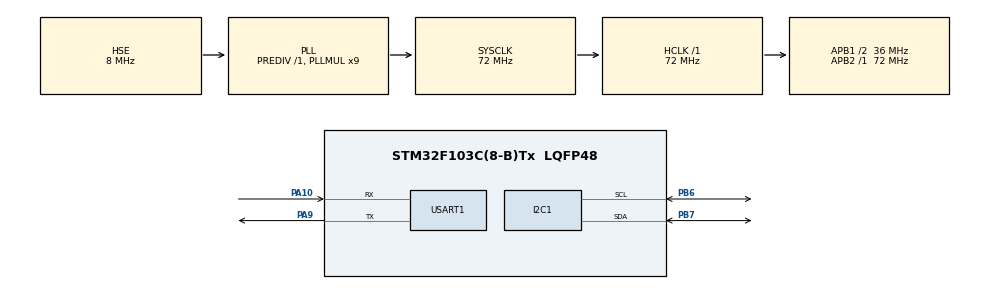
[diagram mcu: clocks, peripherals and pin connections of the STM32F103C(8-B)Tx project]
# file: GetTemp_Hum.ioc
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Mcu.Family=STM32F1
Mcu.Name=STM32F103C(8-B)Tx
Mcu.Package=LQFP48
NVIC.PriorityGroup=NVIC_PRIORITYGROUP_4
PA10.Mode=Asynchronous
PA10.Signal=USART1_RX
PA13.Mode=Serial_Wire
PA13.Signal=SYS_JTMS-SWDIO
PA14.Mode=Serial_Wire
PA14.Signal=SYS_JTCK-SWCLK
PA9.Mode=Asynchronous
PA9.Signal=USART1_TX
PB6.Mode=I2C
PB6.Signal=I2C1_SCL
PB7.Mode=I2C
PB7.Signal=I2C1_SDA
PD0-OSC_IN.Mode=HSE-External-Oscillator
PD0-OSC_IN.Signal=RCC_OSC_IN
PD1-OSC_OUT.Mode=HSE-External-Oscillator
PD1-OSC_OUT.Signal=RCC_OSC_OUT
ProjectManager.HeapSize=0x200
ProjectManager.StackSize=0x400
ProjectManager.TargetToolchain=MDK-ARM V5.32
RCC.AHBFreq_Value=72000000
RCC.APB1CLKDivider=RCC_HCLK_DIV2
RCC.APB1Freq_Value=36000000
RCC.APB1TimFreq_Value=72000000
RCC.APB2Freq_Value=72000000
RCC.APB2TimFreq_Value=72000000
RCC.HCLKFreq_Value=72000000
RCC.PLLMUL=RCC_PLL_MUL9
RCC.PLLSourceVirtual=RCC_PLLSOURCE_HSE
RCC.SYSCLKFreq_VALUE=72000000
RCC.SYSCLKSource=RCC_SYSCLKSOURCE_PLLCLK
RCC.USBFreq_Value=72000000
USART1.VirtualMode=VM_ASYNC
board=custom

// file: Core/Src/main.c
/* USER CODE BEGIN Header */
/**
  ******************************************************************************
  * @file           : main.c
  * @brief          : Main program body
  ******************************************************************************
  * @attention
  *
  * Copyright (c) 2026 STMicroelectronics.
  * All rights reserved.
  *
  * This software is licensed under terms that can be found in the LICENSE file
  * in the root directory of this software component.
  * If no LICENSE file comes with this software, it is provided AS-IS.
  *
  ******************************************************************************
  */
/* USER CODE END Header */
#include "main.h"
#include "i2c.h"
#include "usart.h"
#include "gpio.h"

/* USER CODE BEGIN Includes */
#include <stdio.h>
#include <string.h>
#include "dht12.h"
/* USER CODE END Includes */

void SystemClock_Config(void);

int main(void)
{

  /* MCU Configuration--------------------------------------------------------*/

  /* Reset of all peripherals, Initializes the Flash interface and the Systick. */
  HAL_Init();

  /* Configure the system clock */
  SystemClock_Config();

  /* Initialize all configured peripherals */
  MX_GPIO_Init();
  MX_I2C1_Init();
  MX_USART1_UART_Init();
  /* USER CODE BEGIN 2 */
  HAL_Delay(1000);
  DHTC12_Status init_status = DHTC12_Init();
  char msg[160];
  if (init_status == DHTC12_OK)
  {
    sprintf(msg, "DHTC12 Init OK, cal=%s\r\n", DHTC12_UsingCalibration() ? "YES" : "NO");
  }
  else if (init_status == DHTC12_ERR_CALIB)
  {
    sprintf(msg, "DHTC12 Init OK, cal=NO, using linear humidity fallback\r\n");
  }
  else
  {
    sprintf(msg, "DHTC12 Init Failed: %s, hal_error=0x%08X\r\n",
            DHTC12_StatusString(init_status), (unsigned int)DHTC12_LastHalError());
  }
  HAL_UART_Transmit(&huart1, (uint8_t*)msg, strlen(msg), 100);
  /* USER CODE END 2 */

  /* Infinite loop */
  /* USER CODE BEGIN WHILE */
  DHT12_Data sensor;
  while (1)
  {
    DHTC12_Status ret = DHT12_Read(&sensor);

    if (ret == 0)
      sprintf(msg, "Temp: %.1fC, Hum: %.1f%%, cal=%s\r\n",
              sensor.temperature, sensor.humidity, sensor.used_calibration ? "YES" : "NO");
    else if (ret == DHTC12_ERR_CRC)
      sprintf(msg, "DHTC12 %s, hal_error=0x%08X, raw=%02X %02X %02X %02X %02X %02X\r\n",
              DHTC12_StatusString(ret), (unsigned int)sensor.hal_error,
              sensor.raw[0], sensor.raw[1], sensor.raw[2],
              sensor.raw[3], sensor.raw[4], sensor.raw[5]);
    else
      sprintf(msg, "DHTC12 %s, hal_error=0x%08X\r\n",
              DHTC12_StatusString(ret), (unsigned int)sensor.hal_error);

    HAL_UART_Transmit(&huart1, (uint8_t*)msg, strlen(msg), 100);
    HAL_Delay(2000);
    /* USER CODE END WHILE */

  }
}

void SystemClock_Config(void)
{
  RCC_OscInitTypeDef RCC_OscInitStruct = {0};
  RCC_ClkInitTypeDef RCC_ClkInitStruct = {0};

  /** Initializes the RCC Oscillators according to the specified parameters
  * in the RCC_OscInitTypeDef structure.
  */
  RCC_OscInitStruct.OscillatorType = RCC_OSCILLATORTYPE_HSE;
  RCC_OscInitStruct.HSEState = RCC_HSE_ON;
  RCC_OscInitStruct.HSEPredivValue = RCC_HSE_PREDIV_DIV1;
  RCC_OscInitStruct.HSIState = RCC_HSI_ON;
  RCC_OscInitStruct.PLL.PLLState = RCC_PLL_ON;
  RCC_OscInitStruct.PLL.PLLSource = RCC_PLLSOURCE_HSE;
  RCC_OscInitStruct.PLL.PLLMUL = RCC_PLL_MUL9;
  if (HAL_RCC_OscConfig(&RCC_OscInitStruct) != HAL_OK)
  {
    Error_Handler();
  }

  /** Initializes the CPU, AHB and APB buses clocks
  */
  RCC_ClkInitStruct.ClockType = RCC_CLOCKTYPE_HCLK|RCC_CLOCKTYPE_SYSCLK
                              |RCC_CLOCKTYPE_PCLK1|RCC_CLOCKTYPE_PCLK2;
  RCC_ClkInitStruct.SYSCLKSource = RCC_SYSCLKSOURCE_PLLCLK;
  RCC_ClkInitStruct.AHBCLKDivider = RCC_SYSCLK_DIV1;
  RCC_ClkInitStruct.APB1CLKDivider = RCC_HCLK_DIV2;
  RCC_ClkInitStruct.APB2CLKDivider = RCC_HCLK_DIV1;

  if (HAL_RCC_ClockConfig(&RCC_ClkInitStruct, FLASH_LATENCY_2) != HAL_OK)
  {
    Error_Handler();
  }
}

void Error_Handler(void)
{
  __disable_irq();
  while (1)
  {
  }
}
